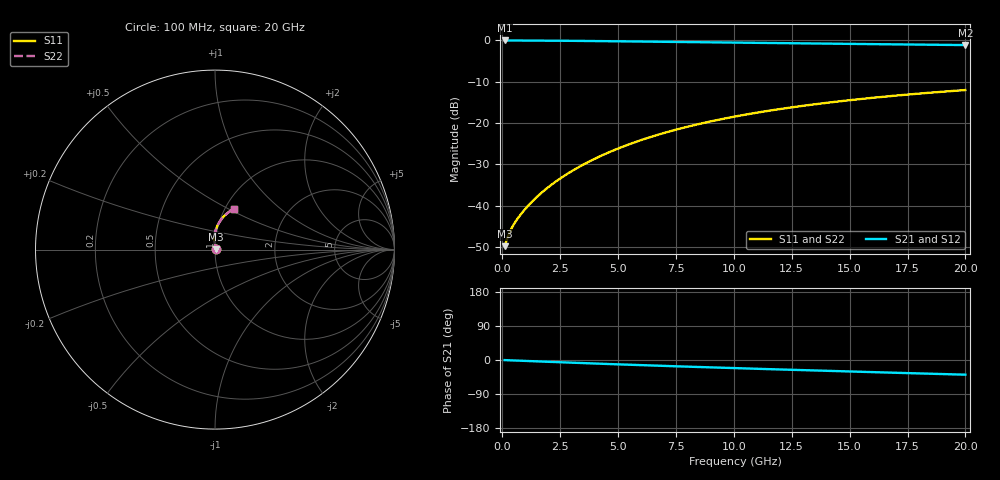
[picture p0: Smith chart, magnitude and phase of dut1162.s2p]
! Touchstone file exported from HFSS 2024.1.0
!  File:  C:/UserFiles/LocalFiles/RDL_TSV_Batchsim/temp_RDL_top_1162_1780048581.aedt
!  Generated:  05:58:19 PM May 29, 2026
!  Design:  RDL_top
!  Project:  temp_RDL_top_1162_1780048581
!  Setup:  Setup1
!  Solution:  Sweep
! Variables:
!  dtsv = 10.80580581um
!  hbump = 3um
!  htsv = 50.86um
!  ldown = 100um
!  lrdl = 640.25um
!  p = 40
!  p1 = 41.66um
!  rhole = 1um
!  t = 450um
!  tdown = 3.915915916um
!  trdl = 3um
!  wdown = 15.38538539um
!  wrdl = 27.76um
# GHz S MA R 50.000000
! Terminal data exported
! Port[1] = Box2_T1
! Port[2] = Box2_T2
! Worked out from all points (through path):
!   200 points, 100 MHz to 20 GHz, reference 50 ohm
!   highest |S21| = -0.03 dB at 100 MHz (marker M1); lowest = -1.1 dB at 20 GHz (marker M2)
!   group delay of S21, straight-line fit = 5.3 ps
!   lowest |S11| = -49.8 dB at 100 MHz (marker M3), VSWR 1.01, Z = 50.3 + j0.116 ohm
!   |S11| at or under -10 dB: start of sweep to end of sweep
!   |S22| runs from -49.8 to -12.0 dB; largest |S21 - S12| = 2.7e-15
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0.1  0.003236 20.9  0.997 -0.3  0.997 -0.3  0.003236 20.9
! Gamma 0 0 0 0
! Port Impedance 50 0 50 0
0.2  0.003905 34.0  0.9967 -0.5  0.9967 -0.5  0.003905 34.0
0.3  0.004632 41.6  0.9964 -0.8  0.9964 -0.8  0.004632 41.6
0.4  0.005318 46.8  0.9961 -1.0  0.9961 -1.0  0.005319 46.8
0.5  0.005965 51.0  0.9958 -1.2  0.9958 -1.2  0.005966 51.0
0.8  0.007861 60.9  0.9951 -2.0  0.9951 -2.0  0.007862 60.9
1.2  0.01057 70.4  0.9941 -2.9  0.9941 -2.9  0.01058 70.4
1.7  0.01437 78.4  0.9926 -4.1  0.9926 -4.1  0.01437 78.4
2.2  0.01859 83.7  0.9906 -5.3  0.9906 -5.3  0.01859 83.7
2.8  0.02418 88.0  0.9878 -6.6  0.9878 -6.6  0.02418 88.0
3.5  0.03141 91.0  0.9839 -8.2  0.9839 -8.2  0.03141 91.0
4.2  0.03933 92.7  0.9796 -9.8  0.9796 -9.8  0.03933 92.7
5  0.04911 93.4  0.9742 -11.5  0.9742 -11.5  0.04911 93.4
5.9  0.06086 93.3  0.9677 -13.4  0.9677 -13.4  0.06086 93.2
6.8  0.07319 92.4  0.9612 -15.2  0.9612 -15.2  0.07318 92.3
8.4  0.09595 89.8  0.9495 -18.3  0.9495 -18.3  0.09593 89.7
10.1  0.1205 86.3  0.9375 -21.5  0.9375 -21.5  0.1205 86.2
11.7  0.1435 82.8  0.9268 -24.5  0.9268 -24.5  0.1434 82.7
13.4  0.1672 79.0  0.9158 -27.5  0.9158 -27.5  0.1671 78.9
15  0.1888 75.5  0.9059 -30.3  0.9059 -30.3  0.1887 75.4
16.7  0.2108 71.9  0.8957 -33.2  0.8957 -33.2  0.2107 71.8
20  0.2505 65.2  0.8766 -38.8  0.8766 -38.8  0.2504 65.1
